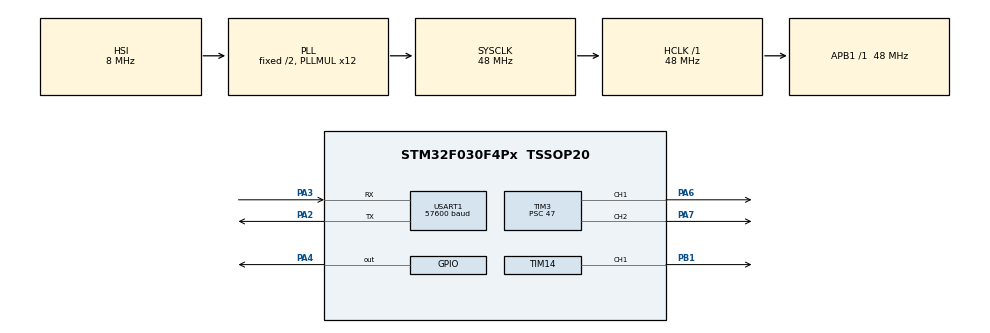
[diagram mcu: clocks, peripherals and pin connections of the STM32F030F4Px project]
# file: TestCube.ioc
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Mcu.Family=STM32F0
Mcu.Name=STM32F030F4Px
Mcu.Package=TSSOP20
NVIC.USART1_IRQn=true\:0\:0\:false\:false\:true\:true\:true
PA2.GPIO_PuPd=GPIO_PULLUP
PA2.Mode=Asynchronous
PA2.Signal=USART1_TX
PA3.GPIO_PuPd=GPIO_PULLUP
PA3.Mode=Asynchronous
PA3.Signal=USART1_RX
PA4.GPIO_PuPd=GPIO_PULLUP
PA4.GPIO_Speed=GPIO_SPEED_FREQ_HIGH
PA4.Signal=GPIO_Output
PA6.GPIO_ModeDefaultPP=GPIO_MODE_AF_PP
PA6.GPIO_PuPd=GPIO_PULLUP
PA6.GPIO_Speed=GPIO_SPEED_FREQ_HIGH
PA6.Signal=S_TIM3_CH1
PA7.GPIO_PuPd=GPIO_PULLUP
PA7.GPIO_Speed=GPIO_SPEED_FREQ_HIGH
PA7.Signal=S_TIM3_CH2
PB1.GPIO_PuPd=GPIO_PULLUP
PB1.GPIO_Speed=GPIO_SPEED_FREQ_HIGH
PB1.Signal=S_TIM14_CH1
ProjectManager.HeapSize=0x200
ProjectManager.StackSize=0x400
ProjectManager.TargetToolchain=EWARM V8
RCC.AHBFreq_Value=48000000
RCC.APB1Freq_Value=48000000
RCC.APB1TimFreq_Value=48000000
RCC.HCLKFreq_Value=48000000
RCC.PLLMUL=RCC_PLL_MUL12
RCC.SYSCLKFreq_VALUE=48000000
RCC.SYSCLKSource=RCC_SYSCLKSOURCE_PLLCLK
SH.S_TIM14_CH1.0=TIM14_CH1,PWM Generation1 CH1
SH.S_TIM3_CH1.0=TIM3_CH1,PWM Generation1 CH1
SH.S_TIM3_CH2.0=TIM3_CH2,PWM Generation2 CH2
TIM14.Channel=TIM_CHANNEL_1
TIM14.OCFastMode_PWM=TIM_OCFAST_ENABLE
TIM14.OCMode_PWM=TIM_OCMODE_PWM2
TIM14.OCPolarity_1=TIM_OCPOLARITY_LOW
TIM14.Period=999
TIM14.Prescaler=47
TIM3.Channel-PWM\ Generation1\ CH1=TIM_CHANNEL_1
TIM3.Channel-PWM\ Generation2\ CH2=TIM_CHANNEL_2
TIM3.OCFastMode_PWM-PWM\ Generation1\ CH1=TIM_OCFAST_ENABLE
TIM3.OCFastMode_PWM-PWM\ Generation2\ CH2=TIM_OCFAST_ENABLE
TIM3.OCMode_PWM-PWM\ Generation1\ CH1=TIM_OCMODE_PWM2
TIM3.OCMode_PWM-PWM\ Generation2\ CH2=TIM_OCMODE_PWM2
TIM3.OCPolarity_1=TIM_OCPOLARITY_LOW
TIM3.OCPolarity_2=TIM_OCPOLARITY_LOW
TIM3.Period=999
TIM3.Prescaler=47
USART1.BaudRate=57600
USART1.OverrunDisableParam=ADVFEATURE_OVERRUN_DISABLE
USART1.VirtualMode-Asynchronous=VM_ASYNC
VP_TIM14_VS_ClockSourceINT.Mode=Enable_Timer
board=custom

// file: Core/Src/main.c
/* USER CODE BEGIN Header */
/**
  ******************************************************************************
  * @file           : main.c
  * @brief          : Main program body
  ******************************************************************************
  * @attention
  *
  * <h2><center>&copy; Copyright (c) 2019 STMicroelectronics.
  * All rights reserved.</center></h2>
  *
  * This software component is licensed by ST under BSD 3-Clause license,
  * the "License"; You may not use this file except in compliance with the
  * License. You may obtain a copy of the License at:
  *                        opensource.org/licenses/BSD-3-Clause
  *
  ******************************************************************************
  */
  /* USER CODE END Header */

  /* Includes ------------------------------------------------------------------*/
#include "main.h"

/* USER CODE BEGIN Includes */
#include "stdint.h"
#include "stdbool.h"
#include "stdlib.h"
/* USER CODE END Includes */

/* USER CODE BEGIN PM */
#define kk 0.0000596
uint32_t led_time = 500;
uint32_t countled = 0;
bool flag_led = false;
bool flag_signal = false;
uint32_t duty = 0;

uint8_t aRxBuffer;			//接收中断缓冲

uint8_t a, b, c = 0;
float color1, color2, color3 = 0;

uint8_t signal_num = 0;
uint8_t signal_quality = 0;
int32_t signal_delta = 0;
int32_t signal_theta = 0;
int32_t signal_low_alpha = 0;
int32_t signal_high_alpha = 0;
int32_t signal_low_beta = 0;
int32_t signal_high_beta = 0;
int32_t signal_low_gamma = 0;
int32_t signal_mid_gamma = 0;

int32_t signalb_delta = 0;
int32_t signalb_theta = 0;
int32_t signalb_low_alpha = 0;
int32_t signalb_high_alpha = 0;
int32_t signalb_low_beta = 0;
int32_t signalb_high_beta = 0;
int32_t signalb_low_gamma = 0;
int32_t signalb_mid_gamma = 0;

int fifo_in(uint8_t);
uint8_t fifo_out();
typedef struct node_st {
	uint8_t data;
	struct node_st* next, * prev;
} node_t;

typedef struct {
	node_t head, end;
	int size;
} llist_t;

llist_t llist;

/* USER CODE END PM */

TIM_HandleTypeDef htim3;
TIM_HandleTypeDef htim14;

UART_HandleTypeDef huart1;

/* USER CODE BEGIN PV */
void llist_init();
uint8_t fifo_out();
int fifo_in(uint8_t data);
/* USER CODE END PV */

void SystemClock_Config(void);
static void MX_GPIO_Init(void);
static void MX_TIM3_Init(void);
static void MX_TIM14_Init(void);
static void MX_USART1_UART_Init(void);

int main(void)
{
	/* USER CODE BEGIN 1 */
	llist_init();
	/* USER CODE END 1 */

	/* MCU Configuration--------------------------------------------------------*/

	/* Reset of all peripherals, Initializes the Flash interface and the Systick. */
	HAL_Init();

	/* Configure the system clock */
	SystemClock_Config();

	/* USER CODE BEGIN SysInit */
	SysTick_Config(SystemCoreClock / 1000);
	/* USER CODE END SysInit */

	/* Initialize all configured peripherals */
	MX_GPIO_Init();
	MX_TIM3_Init();
	MX_TIM14_Init();
	MX_USART1_UART_Init();
	/* USER CODE BEGIN 2 */
	HAL_UART_Receive_IT(&huart1, (uint8_t*)& aRxBuffer, 1);
	HAL_TIM_PWM_Start(&htim3, TIM_CHANNEL_1);
	HAL_TIM_PWM_Start(&htim3, TIM_CHANNEL_2);
	HAL_TIM_PWM_Start(&htim14, TIM_CHANNEL_1);
	fifo_in(0x00);
	/* USER CODE END 2 */

	/* Infinite loop */
	/* USER CODE BEGIN WHILE */
	while (1)
	{
		if (flag_signal)
		{
			flag_signal = false;
			signalb_delta = signal_delta;
			signalb_theta = signal_theta;
			signalb_low_alpha = signal_low_alpha;
			signalb_high_alpha = signal_high_alpha;
			signalb_low_beta = signal_low_beta;
			signalb_high_beta = signal_high_beta;
			signalb_low_gamma = signal_low_gamma;
			signalb_mid_gamma = signal_mid_gamma;

			signal_quality = fifo_out();
			fifo_out(); fifo_out(); fifo_out();
			a = fifo_out();b = fifo_out();c = fifo_out();
			//16???????
			signal_delta = (a << 16) | (b << 8) | c;
			a = fifo_out(); b = fifo_out(); c = fifo_out();
			signal_theta = (a << 16) | (b << 8) | c;
			a = fifo_out(); b = fifo_out(); c = fifo_out();
			signal_low_alpha = (a << 16) | (b << 8) | c;
			a = fifo_out(); b = fifo_out(); c = fifo_out();
			signal_high_alpha = (a << 16) | (b << 8) | c;
			a = fifo_out(); b = fifo_out(); c = fifo_out();
			signal_low_beta = (a << 16) | (b << 8) | c;
			a = fifo_out(); b = fifo_out(); c = fifo_out();
			signal_high_beta = (a << 16) | (b << 8) | c;
			a = fifo_out(); b = fifo_out(); c = fifo_out();
			signal_low_gamma = (a << 16) | (b << 8) | c;
			a = fifo_out(); b = fifo_out(); c = fifo_out();
			signal_mid_gamma = (a << 16) | (b << 8) | c;
			a = fifo_out(); b = fifo_out(); c = fifo_out();
                        duty = 0;
		}

		if (flag_led)
		{
			HAL_GPIO_TogglePin(GPIOA, GPIO_PIN_4);
			flag_led = false;
		}
		if (duty <= 999)
		{
			//color1 = (signalb_low_alpha + 0.001 * duty * (signalb_low_alpha - signal_low_alpha)) * 0.00000596;
                        color1 = signalb_low_alpha * kk + 0.001 * duty * (signalb_low_alpha * kk - signal_low_alpha * kk);
			__HAL_TIM_SET_COMPARE(&htim3, TIM_CHANNEL_1, color1);
                        //color2 = (signalb_low_beta + 0.001 * duty * (signalb_low_beta - signal_low_beta)) * 0.00000596;
                        color2 = signalb_low_beta * kk + 0.001 * duty * (signalb_low_beta * kk - signal_low_beta * kk);
			__HAL_TIM_SET_COMPARE(&htim3, TIM_CHANNEL_2, color2);
                        //color3 = (signalb_low_gamma + 0.001 * duty * (signalb_low_gamma - signal_low_gamma)) * 0.00000596;
                        color3 = signalb_low_gamma * kk + 0.001 * duty * (signalb_low_gamma * kk - signal_low_gamma * kk);
			__HAL_TIM_SET_COMPARE(&htim14, TIM_CHANNEL_1, color3);
		}
		/*
		if (duty <= 999)
		{
			__HAL_TIM_SET_COMPARE(&htim3, TIM_CHANNEL_1, duty);
			__HAL_TIM_SET_COMPARE(&htim3, TIM_CHANNEL_2, 0);
			__HAL_TIM_SET_COMPARE(&htim14, TIM_CHANNEL_1, 0);
		}
		else if ((duty <= (999 * 2)) && (duty > 999))
		{
			__HAL_TIM_SET_COMPARE(&htim3, TIM_CHANNEL_1, (999 - (duty - 999)));
			__HAL_TIM_SET_COMPARE(&htim3, TIM_CHANNEL_2, 0);
			__HAL_TIM_SET_COMPARE(&htim14, TIM_CHANNEL_1, 0);
		}
		else if ((duty <= (999 * 3)) && (duty > (999 * 2)))
		{
			__HAL_TIM_SET_COMPARE(&htim3, TIM_CHANNEL_1, 0);
			__HAL_TIM_SET_COMPARE(&htim3, TIM_CHANNEL_2, duty - 999 * 2);
			__HAL_TIM_SET_COMPARE(&htim14, TIM_CHANNEL_1, 0);
		}
		else if ((duty <= (999 * 4)) && (duty > (999 * 3)))
		{
			__HAL_TIM_SET_COMPARE(&htim3, TIM_CHANNEL_1, 0);
			__HAL_TIM_SET_COMPARE(&htim3, TIM_CHANNEL_2, 999 - (duty - 999 * 3));
			__HAL_TIM_SET_COMPARE(&htim14, TIM_CHANNEL_1, 0);
		}
		else if ((duty <= (999 * 5)) && (duty > (999 * 4)))
		{
			__HAL_TIM_SET_COMPARE(&htim3, TIM_CHANNEL_1, 0);
			__HAL_TIM_SET_COMPARE(&htim3, TIM_CHANNEL_2, 0);
			__HAL_TIM_SET_COMPARE(&htim14, TIM_CHANNEL_1, duty - 999 * 4);
		}
		else if ((duty <= (999 * 6)) && (duty > (999 * 5)))
		{
			__HAL_TIM_SET_COMPARE(&htim3, TIM_CHANNEL_1, 0);
			__HAL_TIM_SET_COMPARE(&htim3, TIM_CHANNEL_2, 0);
			__HAL_TIM_SET_COMPARE(&htim14, TIM_CHANNEL_1, 999 - (duty - 999 * 5));
		}
		*/
		/* USER CODE END WHILE */

	}
}

void SystemClock_Config(void)
{
	RCC_OscInitTypeDef RCC_OscInitStruct = { 0 };
	RCC_ClkInitTypeDef RCC_ClkInitStruct = { 0 };
	RCC_PeriphCLKInitTypeDef PeriphClkInit = { 0 };

	/** Initializes the CPU, AHB and APB busses clocks
	*/
	RCC_OscInitStruct.OscillatorType = RCC_OSCILLATORTYPE_HSI;
	RCC_OscInitStruct.HSIState = RCC_HSI_ON;
	RCC_OscInitStruct.HSICalibrationValue = RCC_HSICALIBRATION_DEFAULT;
	RCC_OscInitStruct.PLL.PLLState = RCC_PLL_ON;
	RCC_OscInitStruct.PLL.PLLSource = RCC_PLLSOURCE_HSI;
	RCC_OscInitStruct.PLL.PLLMUL = RCC_PLL_MUL12;
	RCC_OscInitStruct.PLL.PREDIV = RCC_PREDIV_DIV1;
	if (HAL_RCC_OscConfig(&RCC_OscInitStruct) != HAL_OK)
	{
		Error_Handler();
	}
	/** Initializes the CPU, AHB and APB busses clocks
	*/
	RCC_ClkInitStruct.ClockType = RCC_CLOCKTYPE_HCLK | RCC_CLOCKTYPE_SYSCLK
		| RCC_CLOCKTYPE_PCLK1;
	RCC_ClkInitStruct.SYSCLKSource = RCC_SYSCLKSOURCE_PLLCLK;
	RCC_ClkInitStruct.AHBCLKDivider = RCC_SYSCLK_DIV1;
	RCC_ClkInitStruct.APB1CLKDivider = RCC_HCLK_DIV1;

	if (HAL_RCC_ClockConfig(&RCC_ClkInitStruct, FLASH_LATENCY_1) != HAL_OK)
	{
		Error_Handler();
	}
	PeriphClkInit.PeriphClockSelection = RCC_PERIPHCLK_USART1;
	PeriphClkInit.Usart1ClockSelection = RCC_USART1CLKSOURCE_PCLK1;
	if (HAL_RCCEx_PeriphCLKConfig(&PeriphClkInit) != HAL_OK)
	{
		Error_Handler();
	}
}
static void MX_TIM3_Init(void)
{

	TIM_MasterConfigTypeDef sMasterConfig = { 0 };
	TIM_OC_InitTypeDef sConfigOC = { 0 };

	htim3.Instance = TIM3;
	htim3.Init.Prescaler = 47;
	htim3.Init.CounterMode = TIM_COUNTERMODE_UP;
	htim3.Init.Period = 999;
	htim3.Init.ClockDivision = TIM_CLOCKDIVISION_DIV1;
	htim3.Init.AutoReloadPreload = TIM_AUTORELOAD_PRELOAD_DISABLE;
	if (HAL_TIM_PWM_Init(&htim3) != HAL_OK)
	{
		Error_Handler();
	}
	sMasterConfig.MasterOutputTrigger = TIM_TRGO_RESET;
	sMasterConfig.MasterSlaveMode = TIM_MASTERSLAVEMODE_DISABLE;
	if (HAL_TIMEx_MasterConfigSynchronization(&htim3, &sMasterConfig) != HAL_OK)
	{
		Error_Handler();
	}
	sConfigOC.OCMode = TIM_OCMODE_PWM2;
	sConfigOC.Pulse = 0;
	sConfigOC.OCPolarity = TIM_OCPOLARITY_LOW;
	sConfigOC.OCFastMode = TIM_OCFAST_ENABLE;
	if (HAL_TIM_PWM_ConfigChannel(&htim3, &sConfigOC, TIM_CHANNEL_1) != HAL_OK)
	{
		Error_Handler();
	}
	if (HAL_TIM_PWM_ConfigChannel(&htim3, &sConfigOC, TIM_CHANNEL_2) != HAL_OK)
	{
		Error_Handler();
	}
	HAL_TIM_MspPostInit(&htim3);

}

static void MX_TIM14_Init(void)
{

	TIM_OC_InitTypeDef sConfigOC = { 0 };

	htim14.Instance = TIM14;
	htim14.Init.Prescaler = 47;
	htim14.Init.CounterMode = TIM_COUNTERMODE_UP;
	htim14.Init.Period = 999;
	htim14.Init.ClockDivision = TIM_CLOCKDIVISION_DIV1;
	htim14.Init.AutoReloadPreload = TIM_AUTORELOAD_PRELOAD_DISABLE;
	if (HAL_TIM_Base_Init(&htim14) != HAL_OK)
	{
		Error_Handler();
	}
	if (HAL_TIM_PWM_Init(&htim14) != HAL_OK)
	{
		Error_Handler();
	}
	sConfigOC.OCMode = TIM_OCMODE_PWM2;
	sConfigOC.Pulse = 0;
	sConfigOC.OCPolarity = TIM_OCPOLARITY_LOW;
	sConfigOC.OCFastMode = TIM_OCFAST_ENABLE;
	if (HAL_TIM_PWM_ConfigChannel(&htim14, &sConfigOC, TIM_CHANNEL_1) != HAL_OK)
	{
		Error_Handler();
	}
	HAL_TIM_MspPostInit(&htim14);

}

static void MX_USART1_UART_Init(void)
{

	huart1.Instance = USART1;
	huart1.Init.BaudRate = 57600;
	huart1.Init.WordLength = UART_WORDLENGTH_8B;
	huart1.Init.StopBits = UART_STOPBITS_1;
	huart1.Init.Parity = UART_PARITY_NONE;
	huart1.Init.Mode = UART_MODE_TX_RX;
	huart1.Init.HwFlowCtl = UART_HWCONTROL_NONE;
	huart1.Init.OverSampling = UART_OVERSAMPLING_16;
	huart1.Init.OneBitSampling = UART_ONE_BIT_SAMPLE_DISABLE;
	huart1.AdvancedInit.AdvFeatureInit = UART_ADVFEATURE_RXOVERRUNDISABLE_INIT;
	huart1.AdvancedInit.OverrunDisable = UART_ADVFEATURE_OVERRUN_DISABLE;
	if (HAL_UART_Init(&huart1) != HAL_OK)
	{
		Error_Handler();
	}

}

static void MX_GPIO_Init(void)
{
	GPIO_InitTypeDef GPIO_InitStruct = { 0 };

	/* GPIO Ports Clock Enable */
	__HAL_RCC_GPIOA_CLK_ENABLE();
	__HAL_RCC_GPIOB_CLK_ENABLE();

	/*Configure GPIO pin Output Level */
	HAL_GPIO_WritePin(GPIOA, GPIO_PIN_4, GPIO_PIN_RESET);

	/*Configure GPIO pin : PA4 */
	GPIO_InitStruct.Pin = GPIO_PIN_4;
	GPIO_InitStruct.Mode = GPIO_MODE_OUTPUT_PP;
	GPIO_InitStruct.Pull = GPIO_PULLUP;
	GPIO_InitStruct.Speed = GPIO_SPEED_FREQ_HIGH;
	HAL_GPIO_Init(GPIOA, &GPIO_InitStruct);

}

/* USER CODE BEGIN 4 */
void llist_init() { llist.size = 0; }

int fifo_in(uint8_t data) {
	node_t* nodeptr;
	nodeptr = malloc(sizeof(node_t));
	nodeptr->data = data;
	if (llist.size > 0 && llist.size < 28) {
		nodeptr->next = &llist.end;
		nodeptr->prev = llist.end.prev;
		llist.end.prev->next = nodeptr;
		llist.end.prev = nodeptr;
		llist.size += 1;
	}
	else if (llist.size == 0) {
		nodeptr->prev = &llist.head;
		nodeptr->next = &llist.end;
		llist.head.next = nodeptr;
		llist.end.prev = nodeptr;
		llist.size += 1;
	}
	else if (llist.size > 27) {
		fifo_out();
		nodeptr->next = &llist.end;
		nodeptr->prev = llist.end.prev;
		llist.end.prev->next = nodeptr;
		llist.end.prev = nodeptr;
		llist.size += 1;
	}
	return 0;
}

uint8_t fifo_out() {
	uint8_t data;
	if (llist.size != 1) {
		data = llist.head.next->data;
		llist.head.next = llist.head.next->next;
		free(llist.head.next->prev);
		llist.head.next->prev = &llist.head;
		llist.size -= 1;
	}
	else if (llist.size == 0) {
		return 0;
	}
	else if (llist.size == 1) {
		return 255;
	}
	return data;
}

void SysTick_Handler()
{
	if (!flag_led)countled++;
	duty++;
	//if (duty > 999 * 6)duty = 0;
	//if (duty > 999)duty = 0;
	if (countled >= led_time)
	{
		countled = 0;
		flag_led = true;
	}
}

void USART1_IRQHandler(void)
{
	/* USER CODE BEGIN USART1_IRQn 0 */

	/* USER CODE END USART1_IRQn 0 */
	HAL_UART_IRQHandler(&huart1);
	/* USER CODE BEGIN USART1_IRQn 1 */

	/* USER CODE END USART1_IRQn 1 */
}

void HAL_UART_RxCpltCallback(UART_HandleTypeDef * huart)
{
	uint8_t buff = 0;
	static uint8_t index = 0;
	/* Prevent unused argument(s) compilation warning */
	UNUSED(huart);
	/* NOTE: This function Should not be modified, when the callback is needed,
			 the HAL_UART_TxCpltCallback could be implemented in the user file
	*/
	buff = aRxBuffer;
	switch (index)
	{
	case 0:
	{
		if (buff == 0xAA)
		{
			index = 1;
			goto RTB;
		}
	}
	case 1:
	{
		if (buff == 0xAA)
		{
			index = 2;
			goto RTB;
		}
		else
		{
			index = 0;
			goto RTB;
		}
	}
	case 2:
	{
		if (buff >= 0xAA)
		{
			index = 0;
			goto RTB;
		}
		else
		{
			if (buff == 4)
			{
				index = 0;
				goto RTB;
			}
			else
			{
				index = 3;
				while (llist.size - 1)
				{
					fifo_out();
				}
				goto RTB;
			}
		}
	}
	case 3:
	{
		if (llist.size < 28)
		{
			fifo_in(buff);
			goto RTB;
		}
		else
		{
			index = 0;
			flag_signal = true;
			goto RTB;
		}
	}
	default:goto RTB;
	}
	//HAL_UART_Transmit(&huart1, (uint8_t *)&buff, 1, 0xFFFF);
RTB:
	HAL_UART_Receive_IT(&huart1, (uint8_t*)& aRxBuffer, 1);
}

/* USER CODE END 4 */

void Error_Handler(void)
{
}

/************************ (C) COPYRIGHT STMicroelectronics *****END OF FILE****/
